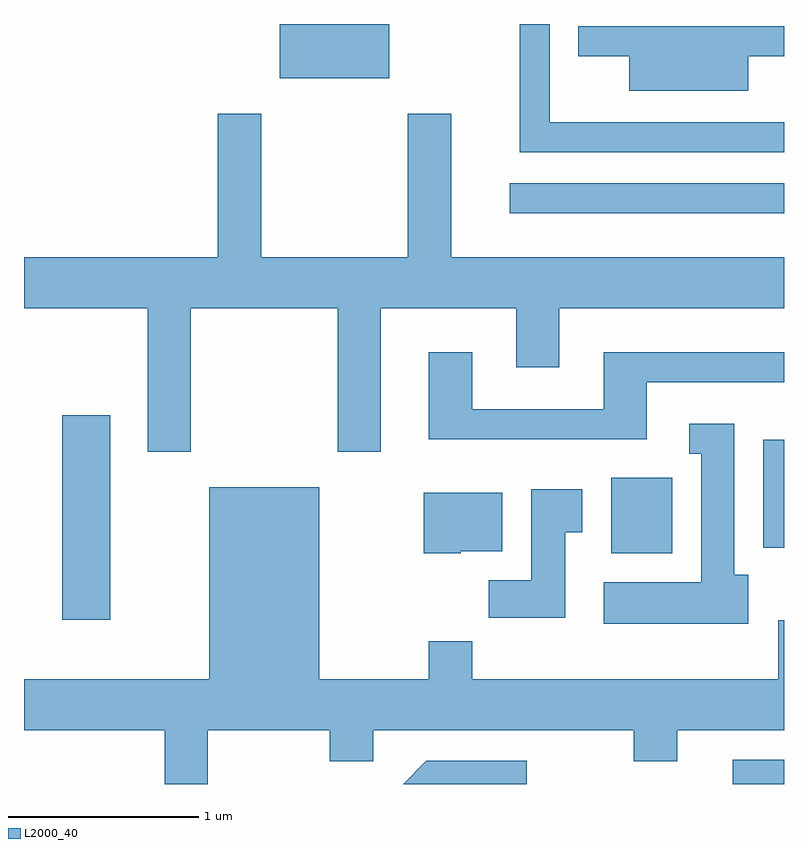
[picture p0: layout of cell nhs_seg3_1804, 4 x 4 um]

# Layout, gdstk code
import gdstk
lib = gdstk.Library(unit=1e-6, precision=1e-09)
def R(c, l, rs):  # rectangles x0, y0, x1, y1
    for r in rs: c.add(gdstk.rectangle(r[:2], r[2:], *l))
def P(c, l, *ps):  # polygons
    for p in ps: c.add(gdstk.Polygon(p, *l))
L2000_40 = (2000, 40)

nhs_seg3_1804 = lib.new_cell('nhs_seg3_1804')
R(nhs_seg3_1804, L2000_40, [(241.341,1187.892,241.611,1188.019), (237.811,1188.756,238.064,1189.834), (240.701,1189.106,241.024,1189.504), (241.501,1189.136,241.611,1189.704), (240.168,1190.896,241.611,1191.054), (238.956,1191.606,239.534,1191.892)])
P(nhs_seg3_1804, L2000_40, [(241.611,1191.374),(240.379,1191.374),(240.379,1191.892),(240.221,1191.892),(240.221,1191.216),(241.611,1191.216)],
  [(241.424,1191.721),(241.611,1191.721),(241.611,1191.879),(240.528,1191.879),(240.528,1191.721),(240.796,1191.721),(240.796,1191.541),(241.424,1191.541)],
  [(238.489,1190.396),(239.261,1190.396),(239.261,1189.641),(239.489,1189.641),(239.489,1190.396),(240.201,1190.396),(240.201,1190.086),(240.429,1190.086),(240.429,1190.396),(241.611,1190.396),(241.611,1190.664),(239.859,1190.664),(239.859,1191.419),(239.631,1191.419),(239.631,1190.664),(238.859,1190.664),(238.859,1191.419),(238.631,1191.419),(238.631,1190.664),(237.611,1190.664),(237.611,1190.396),(238.261,1190.396),(238.261,1189.641),(238.489,1189.641)],
  [(240.889,1190.006),(241.611,1190.006),(241.611,1190.164),(240.661,1190.164),(240.661,1189.864),(239.969,1189.864),(239.969,1190.164),(239.741,1190.164),(239.741,1189.706),(240.889,1189.706)],
  [(241.424,1188.994),(241.349,1188.994),(241.349,1189.789),(241.113,1189.789),(241.113,1189.631),(241.176,1189.631),(241.176,1188.954),(240.661,1188.954),(240.661,1188.736),(241.424,1188.736)],
  [(238.579,1188.176),(239.221,1188.176),(239.221,1188.011),(239.449,1188.011),(239.449,1188.176),(240.821,1188.176),(240.821,1188.011),(241.049,1188.011),(241.049,1188.176),(241.611,1188.176),(241.611,1188.754),(241.581,1188.754),(241.581,1188.444),(239.969,1188.444),(239.969,1188.644),(239.741,1188.644),(239.741,1188.444),(239.164,1188.444),(239.164,1189.454),(238.586,1189.454),(238.586,1188.444),(237.611,1188.444),(237.611,1188.176),(238.351,1188.176),(238.351,1187.892),(238.579,1187.892)],
  [(240.459,1189.216),(240.549,1189.216),(240.549,1189.444),(240.281,1189.444),(240.281,1188.964),(240.056,1188.964),(240.056,1188.766),(240.459,1188.766)],
  [(239.91,1189.116),(240.129,1189.116),(240.129,1189.424),(239.716,1189.424),(239.716,1189.106),(239.91,1189.106)],
  [(240.258,1188.014),(239.729,1188.014),(239.606,1187.892),(240.258,1187.892)])

lib.write_gds('nhs_seg3_1804.gds')
